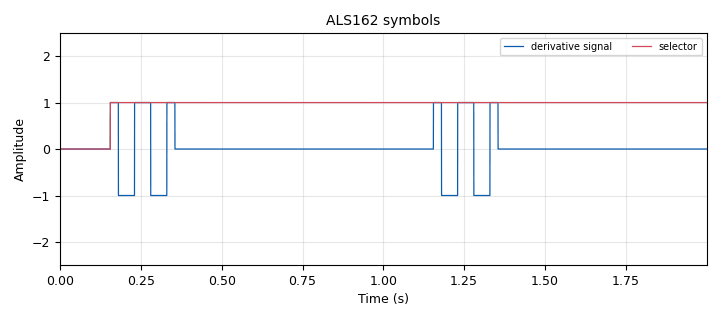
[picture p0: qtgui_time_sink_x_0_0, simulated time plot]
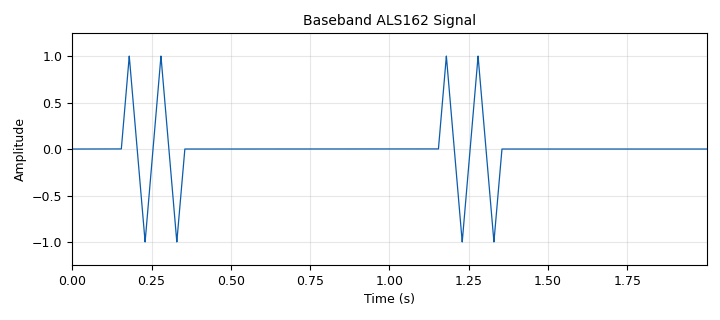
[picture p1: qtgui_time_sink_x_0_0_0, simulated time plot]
options:
  parameters:
    author: henningM1r
    generate_options: qt_gui
    id: ALS162_Transmitter
    output_language: python
    title: ALS162 Transmitter
  states: {}

blocks:
- name: freq_ALS162
  id: variable
  parameters:
    value: '162000'
  states: {}
- name: minute_tag
  id: variable_tag_object
  parameters:
    key: pmt.intern("key")
    offset: '60'
    src: pmt.intern("src")
    value: pmt.intern("min")
  states: {}
- name: samp_rate
  id: variable
  parameters:
    value: int(192000)
  states: {}
- name: subframes_minute
  id: variable
  parameters:
    value: int(1000/25)
  states: {}
- name: analog_const_source_x_0
  id: analog_const_source_x
  parameters:
    const: '1'
    type: float
  states: {}
- name: analog_sig_source_x_2
  id: analog_sig_source_x
  parameters:
    amp: '1'
    comment: |-
      modulation signal to shift the
      pass band signal up to 162 kHz
    freq: freq_ALS162
    offset: '0'
    phase: '0'
    samp_rate: samp_rate
    type: complex
    waveform: analog.GR_COS_WAVE
  states: {}
- name: blocks_magphase_to_complex_0
  id: blocks_magphase_to_complex
  parameters:
    comment: |-
      as the ALS162 signal is
      mainly defined by its phase
  states: {}
- name: blocks_multiply_const_vxx_0
  id: blocks_multiply_const_vxx
  parameters:
    comment: |-
      normalize signal
      to range [-1, 1]
    const: subframes_minute/samp_rate
    type: float
  states: {}
- name: blocks_multiply_xx_0
  id: blocks_multiply_xx
  parameters:
    type: complex
  states: {}
- name: blocks_null_sink_0
  id: blocks_null_sink
  parameters:
    type: short
  states: {state: disabled}
- name: blocks_null_source_0
  id: blocks_null_source
  parameters:
    type: short
  states: {state: disabled}
- name: blocks_repeat_0
  id: blocks_repeat
  parameters:
    interp: int(samp_rate/subframes_minute)
    type: float
  states: {}
- name: blocks_repeat_0_0
  id: blocks_repeat
  parameters:
    comment: |-
      each bit streches a number
      of "samp_rate" samples,
      i.e. fill one full second
    interp: int(samp_rate/subframes_minute)
    type: float
  states: {}
- name: blocks_repeat_1
  id: blocks_repeat
  parameters:
    interp: subframes_minute
    type: short
  states: {}
- name: blocks_short_to_float_0
  id: blocks_short_to_float
  parameters:
    scale: '1'
  states: {}
- name: blocks_short_to_float_1
  id: blocks_short_to_float
  parameters:
    scale: '1'
  states: {}
- name: blocks_throttle_0
  id: blocks_throttle
  parameters:
    samples_per_second: '1000'
    type: short
  states: {state: disabled}
- name: blocks_vector_source_x_0_0
  id: blocks_vector_source_x
  parameters:
    comment: |-
      example ALS162 encoded
      bit-stream full length: must
      be 60 elements, the last
      element must be a 2
      ===
      here:
      time: 17:43
      weekday: Monday
      Date: 01.05.23
    repeat: 'True'
    tags: '[minute_tag]'
    type: short
    vector: (0,0,0,0,0,0,1,0,0,0,0,0,0,0,1,0,0,1,0,0,1,1,1,0,0,0,0,1,1,1,1,1,0,1,0,0,1,0,0,0,0,0,1,0,0,1,0,1,0,0,1,1,0,0,0,1,0,0,1,2)
  states: {}
- name: blocks_vector_source_x_0_0_0
  id: blocks_vector_source_x
  parameters:
    comment: derivative of waveform for 0
    repeat: 'True'
    type: short
    vector: list(1*[+1,-1,-1,+1,0,0])+list((subframes_minute-6)*[0])
  states: {}
- name: blocks_vector_source_x_0_0_0_0
  id: blocks_vector_source_x
  parameters:
    comment: derivative of waveform for 1
    repeat: 'True'
    type: short
    vector: list(1*[+1,-1,-1,+1,+1,-1,-1,+1])+list((subframes_minute-8)*[0])
  states: {}
- name: blocks_vector_source_x_0_0_0_0_0
  id: blocks_vector_source_x
  parameters:
    comment: |-
      derivative of waveform for 2
      (new minute)
    repeat: 'True'
    type: short
    vector: list(subframes_minute*[0])
  states: {}
- name: epy_block_0
  id: epy_block
  parameters:
    _source_code: "\nimport numpy as np\nfrom gnuradio import gr\n\n\nclass blk(gr.sync_block):\n\n    def __init__(self):\n        gr.sync_block.__init__(\n            self,\n            name='Waveform Selector',\n            in_sig=[np.short,     # selector\n                    np.short,     # input signal for zero\n                    np.short,     # input signal for one\n                    np.short],    # input signal for two\n            out_sig=[np.short,    # output signal\n                     np.short]    # forwared selector\n        )\n\n    def work(self, input_items, output_items):\n        inp0 = input_items[0]   # selector\n        inp1 = input_items[1]   # input signal for zero\n        inp2 = input_items[2]   # input signal for one\n        inp3 = input_items[3]   # input signal for two\n\n        # only as initialization value for output signal\n        output_items[0][:] = inp3\n\n        # forward the selector\n        output_items[1][:] = inp0\n\n        # select the input signal to forward it to the output\n        output_items[0][:] = self.selsym_to_bbsig(inp0, inp1, inp2, inp3)\n\n        return len(output_items[0])\n\n    def selsym_to_bbsig(self, inp0, inp1, inp2, inp3):\n        out = inp0\n\n        for idx, ch in enumerate(inp0):\n            # forward waveform for zero\n            if (ch == 0):\n                out[idx] = inp1[idx]\n\n            # forward waveform for one\n            elif (ch == 1):\n                out[idx] = inp2[idx]\n\n            # forward waveform for two\n            elif (ch == 2):\n                out[idx] = inp3[idx]\n\n        return out\n"
    comment: |-
      selects the waveform
      to the corresponding
      symbol 0, 1 or 2
  states: {}
- name: iir_filter_xxx_0
  id: iir_filter_xxx
  parameters:
    comment: |-
      integrator to obtain
      the desired base band
      waveform
    fbtaps: '[0,1]'
    fftaps: '[1,0]'
    type: ffd
  states: {}
- name: import_0
  id: import
  parameters:
    imports: import numpy as np
  states: {}
- name: import_1
  id: import
  parameters:
    imports: import pmt
  states: {}
- name: network_tcp_sink_0
  id: network_tcp_sink
  parameters:
    mode: '2'
    port: '55553'
    type: complex
  states: {}
- name: note_0
  id: note
  parameters:
    comment: |-
      Note that these
      waveforms are in
      perfect sync to
      each other
  states: {}
- name: qtgui_freq_sink_x_0
  id: qtgui_freq_sink_x
  parameters:
    bw: samp_rate
    fc: '0'
    fftsize: '1024'
    gui_hint: (4,0)
    name: Modulated_ALS162_signal_frequency
    type: complex
  states: {state: disabled}
- name: qtgui_freq_sink_x_0_0
  id: qtgui_freq_sink_x
  parameters:
    bw: samp_rate
    comment: |-
      The bandwidth of the complex
      baseband signal (main lobe) is
      roughly 2 kHz. Higher harmonic
      frequencies at approx. x*25kHz
      mainly contribute to the triangular
      shaped signal peaks.
    fc: '0'
    fftsize: '2048'
    gui_hint: (4,0)
    name: Baseband_ALS162_signal_frequency
    type: complex
  states: {state: disabled}
- name: qtgui_time_sink_x_0
  id: qtgui_time_sink_x
  parameters:
    name: Modulated_ALS162_signal_time
    size: samp_rate*4
    srate: samp_rate
    type: complex
    ymax: '0.1'
    ymin: '-0.1'
  states: {state: disabled}
- name: qtgui_time_sink_x_0_0
  id: qtgui_time_sink_x
  parameters:
    gui_hint: (1,0)
    label1: derivative signal
    label2: selector
    name: ALS162 symbols
    nconnections: '2'
    size: samp_rate*2
    srate: samp_rate
    type: float
    update_time: '0.02'
    ymax: '2.5'
    ymin: '-2.5'
  states: {}
- name: qtgui_time_sink_x_0_0_0
  id: qtgui_time_sink_x
  parameters:
    gui_hint: (2,0)
    name: Baseband ALS162 Signal
    size: samp_rate*2
    srate: samp_rate
    type: float
    update_time: '0.02'
    ymax: '1.25'
    ymin: '-1.25'
  states: {}
- name: virtual_sink_0
  id: virtual_sink
  parameters:
    stream_id: '1'
  states: {}
- name: virtual_sink_1
  id: virtual_sink
  parameters:
    stream_id: 0_a
  states: {}
- name: virtual_sink_2
  id: virtual_sink
  parameters:
    stream_id: 0_b
  states: {}
- name: virtual_source_0
  id: virtual_source
  parameters:
    stream_id: '1'
  states: {}
- name: virtual_source_1
  id: virtual_source
  parameters:
    stream_id: 0_a
  states: {}
- name: virtual_source_1_0
  id: virtual_source
  parameters:
    stream_id: 0_b
  states: {}
- name: zeromq_sub_source_0
  id: zeromq_sub_source
  parameters:
    address: tcp://127.0.0.1:55552
    comment: |-
      sends bits from ALS162 Encoder
      1 symbol per second
    timeout: '100'
    type: short
  states: {state: disabled}

connections:
- [analog_const_source_x_0, '0', blocks_magphase_to_complex_0, '0']
- [analog_sig_source_x_2, '0', blocks_multiply_xx_0, '0']
- [blocks_magphase_to_complex_0, '0', blocks_multiply_xx_0, '1']
- [blocks_magphase_to_complex_0, '0', qtgui_freq_sink_x_0_0, '0']
- [blocks_multiply_const_vxx_0, '0', qtgui_time_sink_x_0_0_0, '0']
- [blocks_multiply_const_vxx_0, '0', virtual_sink_0, '0']
- [blocks_multiply_xx_0, '0', network_tcp_sink_0, '0']
- [blocks_multiply_xx_0, '0', qtgui_freq_sink_x_0, '0']
- [blocks_multiply_xx_0, '0', qtgui_time_sink_x_0, '0']
- [blocks_null_source_0, '0', blocks_throttle_0, '0']
- [blocks_repeat_0, '0', iir_filter_xxx_0, '0']
- [blocks_repeat_0, '0', qtgui_time_sink_x_0_0, '0']
- [blocks_repeat_0_0, '0', qtgui_time_sink_x_0_0, '1']
- [blocks_repeat_1, '0', epy_block_0, '0']
- [blocks_short_to_float_0, '0', virtual_sink_1, '0']
- [blocks_short_to_float_1, '0', virtual_sink_2, '0']
- [blocks_throttle_0, '0', blocks_null_sink_0, '0']
- [blocks_vector_source_x_0_0, '0', blocks_repeat_1, '0']
- [blocks_vector_source_x_0_0_0, '0', epy_block_0, '1']
- [blocks_vector_source_x_0_0_0_0, '0', epy_block_0, '2']
- [blocks_vector_source_x_0_0_0_0_0, '0', epy_block_0, '3']
- [epy_block_0, '0', blocks_short_to_float_0, '0']
- [epy_block_0, '1', blocks_short_to_float_1, '0']
- [iir_filter_xxx_0, '0', blocks_multiply_const_vxx_0, '0']
- [virtual_source_0, '0', blocks_magphase_to_complex_0, '1']
- [virtual_source_1, '0', blocks_repeat_0, '0']
- [virtual_source_1_0, '0', blocks_repeat_0_0, '0']
- [zeromq_sub_source_0, '0', blocks_repeat_1, '0']

metadata:
  file_format: 1
